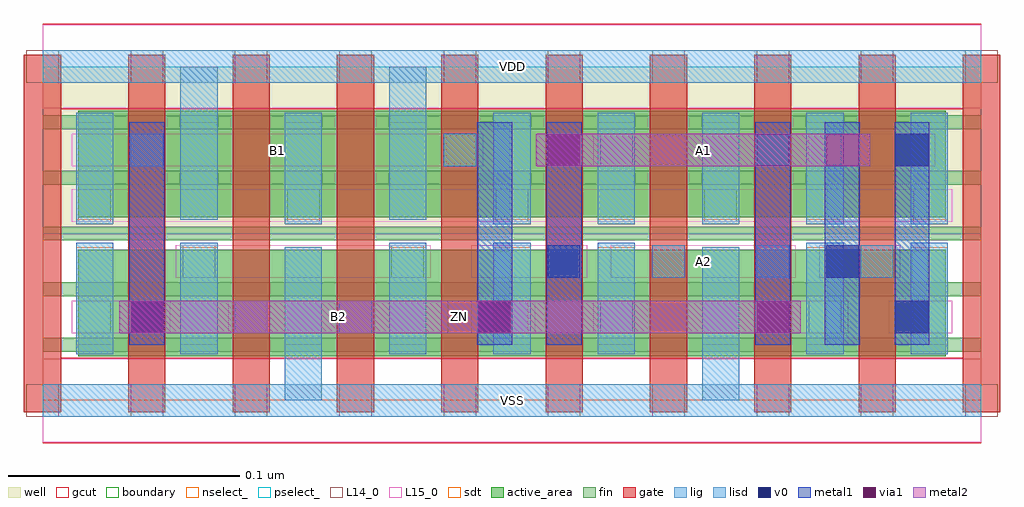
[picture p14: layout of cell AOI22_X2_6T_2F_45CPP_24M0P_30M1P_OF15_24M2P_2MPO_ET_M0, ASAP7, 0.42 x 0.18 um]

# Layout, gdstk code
import gdstk
lib = gdstk.Library(unit=1e-6, precision=2.5e-10)
def R(c, l, rs):  # rectangles x0, y0, x1, y1
    for r in rs: c.add(gdstk.rectangle(r[:2], r[2:], *l))
def A(c, l, x, y, w, h, nx, ny, dx, dy):  # array of equal rectangles
    R(c, l, [(x+i*dx, y+j*dy, x+i*dx+w, y+j*dy+h) for i in range(nx) for j in range(ny)])
well = (1, 0)
fin = (2, 0)
gate = (7, 0)
gcut = (10, 0)
active_area = (11, 0)
nselect_ = (12, 0)
pselect_ = (13, 0)
L14_0 = (14, 0)
L15_0 = (15, 0)
lig = (16, 0)
lisd = (17, 0)
v0 = (18, 0)
metal1 = (19, 0)
metal2 = (20, 0)
via1 = (21, 0)
sdt = (88, 0)
boundary = (100, 0)

aoi22_x2_6t_2f_45cpp_24m = lib.new_cell('AOI22_X2_6T_2F_45CPP_24M0P_30M1P_OF15_24M2P_2MPO_ET_M0')
R(aoi22_x2_6t_2f_45cpp_24m, well, [(0,0.072,0.405,0.144)])
A(aoi22_x2_6t_2f_45cpp_24m, fin, 0, 0.021, 0.405, 0.006, 1, 5, 0, 0.024)
A(aoi22_x2_6t_2f_45cpp_24m, gate, -0.008, -0.005, 0.016, 0.154, 10, 1, 0.045, 0)
R(aoi22_x2_6t_2f_45cpp_24m, gcut, [(0,-0.0185,0.405,0.0185), (-0.008,-0.005,0.008,0.149), (0.397,-0.005,0.413,0.149), (0,0.1255,0.405,0.1625)])
A(aoi22_x2_6t_2f_45cpp_24m, active_area, 0.0155, 0.019, 0.059, 0.046, 8, 2, 0.045, 0.06)
R(aoi22_x2_6t_2f_45cpp_24m, nselect_, [(0,0,0.405,0.072)])
R(aoi22_x2_6t_2f_45cpp_24m, pselect_, [(0,0.072,0.405,0.144)])
A(aoi22_x2_6t_2f_45cpp_24m, L14_0, -0.007, -0.007, 0.014, 0.014, 10, 2, 0.045, 0.144)
A(aoi22_x2_6t_2f_45cpp_24m, L14_0, 0.218, 0.053, 0.014, 0.014, 4, 1, 0.045, 0)
A(aoi22_x2_6t_2f_45cpp_24m, L14_0, 0.0155, 0.077, 0.014, 0.014, 5, 1, 0.09, 0)
R(aoi22_x2_6t_2f_45cpp_24m, L14_0, [(0.0155,0.029,0.0295,0.043), (0.083,0.029,0.097,0.043), (0.128,0.029,0.142,0.043), (0.1955,0.029,0.2095,0.043), (0.2405,0.029,0.2545,0.043), (0.3305,0.029,0.3445,0.043), (0.3755,0.029,0.3895,0.043), (0.0605,0.053,0.0745,0.067), (0.1505,0.053,0.1645,0.067), (0.038,0.101,0.052,0.115), (0.173,0.101,0.187,0.115), (0.2405,0.101,0.2545,0.115), (0.3305,0.101,0.3445,0.115)])
R(aoi22_x2_6t_2f_45cpp_24m, L15_0, [(0,-0.018,0.405,0.018), (0.0125,0.029,0.055,0.043), (0.08,0.029,0.175,0.043), (0.185,0.029,0.2125,0.043), (0.2375,0.029,0.3475,0.043), (0.365,0.029,0.3925,0.043), (0.0575,0.053,0.1675,0.067), (0.185,0.053,0.235,0.067), (0.245,0.053,0.325,0.067), (0.335,0.053,0.37,0.067), (0.0125,0.077,0.3925,0.091), (0.0125,0.101,0.19,0.115), (0.2375,0.101,0.385,0.115), (0,0.126,0.405,0.162)])
A(aoi22_x2_6t_2f_45cpp_24m, lig, 0.218, 0.053, 0.014, 0.014, 4, 1, 0.045, 0)
R(aoi22_x2_6t_2f_45cpp_24m, lig, [(0,-0.007,0.405,0.007), (0.083,0.029,0.097,0.043), (0.128,0.029,0.142,0.043), (0.038,0.101,0.052,0.115), (0.173,0.101,0.187,0.115), (0,0.137,0.405,0.151)])
A(aoi22_x2_6t_2f_45cpp_24m, lisd, 0.1495, 0.02, 0.016, 0.048, 3, 1, 0.045, 0)
A(aoi22_x2_6t_2f_45cpp_24m, lisd, 0.0145, 0.076, 0.016, 0.048, 3, 1, 0.09, 0)
A(aoi22_x2_6t_2f_45cpp_24m, lisd, 0.2395, 0.076, 0.016, 0.048, 4, 1, 0.045, 0)
R(aoi22_x2_6t_2f_45cpp_24m, lisd, [(0.1045,0,0.1205,0.066), (0.2845,0,0.3005,0.066), (0.0145,0.02,0.0305,0.068), (0.0595,0.02,0.0755,0.068), (0.3295,0.02,0.3455,0.068), (0.3745,0.02,0.3905,0.068), (0.0595,0.078,0.0755,0.144), (0.1495,0.078,0.1655,0.144)])
R(aoi22_x2_6t_2f_45cpp_24m, v0, [(0.038,0.029,0.052,0.043), (0.188,0.029,0.202,0.043), (0.368,0.029,0.382,0.043), (0.218,0.053,0.232,0.067), (0.338,0.053,0.352,0.067), (0.308,0.101,0.322,0.115), (0.368,0.101,0.382,0.115)])
A(aoi22_x2_6t_2f_45cpp_24m, metal1, 0.3075, 0.024, 0.015, 0.096, 3, 1, 0.03, 0)
R(aoi22_x2_6t_2f_45cpp_24m, metal1, [(0.0375,0.024,0.0525,0.12), (0.1875,0.024,0.2025,0.12), (0.2175,0.024,0.2325,0.12)])
R(aoi22_x2_6t_2f_45cpp_24m, metal2, [(0.033,0.029,0.327,0.043), (0.213,0.101,0.357,0.115)])
R(aoi22_x2_6t_2f_45cpp_24m, via1, [(0.038,0.029,0.052,0.043), (0.188,0.029,0.202,0.043), (0.308,0.029,0.322,0.043), (0.218,0.101,0.232,0.115), (0.338,0.101,0.352,0.115)])
A(aoi22_x2_6t_2f_45cpp_24m, sdt, 0.0145, 0.024, 0.016, 0.042, 9, 2, 0.045, 0.054)
R(aoi22_x2_6t_2f_45cpp_24m, boundary, [(0,0,0.405,0.144)])
aoi22_x2_6t_2f_45cpp_24m.add(gdstk.Label('B1', (0.1013,0.108), layer=15, texttype=251))
aoi22_x2_6t_2f_45cpp_24m.add(gdstk.Label('B2', (0.1275,0.036), layer=15, texttype=251))
aoi22_x2_6t_2f_45cpp_24m.add(gdstk.Label('A2', (0.285,0.06), layer=15, texttype=251))
aoi22_x2_6t_2f_45cpp_24m.add(gdstk.Label('VDD', (0.2025,0.144), layer=15, texttype=251))
aoi22_x2_6t_2f_45cpp_24m.add(gdstk.Label('VSS', (0.2025,0), layer=15, texttype=251))
aoi22_x2_6t_2f_45cpp_24m.add(gdstk.Label('VDD', (0.2025,0.144), layer=1, texttype=251))
aoi22_x2_6t_2f_45cpp_24m.add(gdstk.Label('VSS', (0.2025,0), layer=3, texttype=251))
aoi22_x2_6t_2f_45cpp_24m.add(gdstk.Label('A1', (0.285,0.108), layer=20, texttype=251))
aoi22_x2_6t_2f_45cpp_24m.add(gdstk.Label('ZN', (0.18,0.036), layer=20, texttype=251))

lib.write_gds('AOI22_X2_6T_2F_45CPP_24M0P_30M1P_OF15_24M2P_2MPO_ET_M0.gds')
